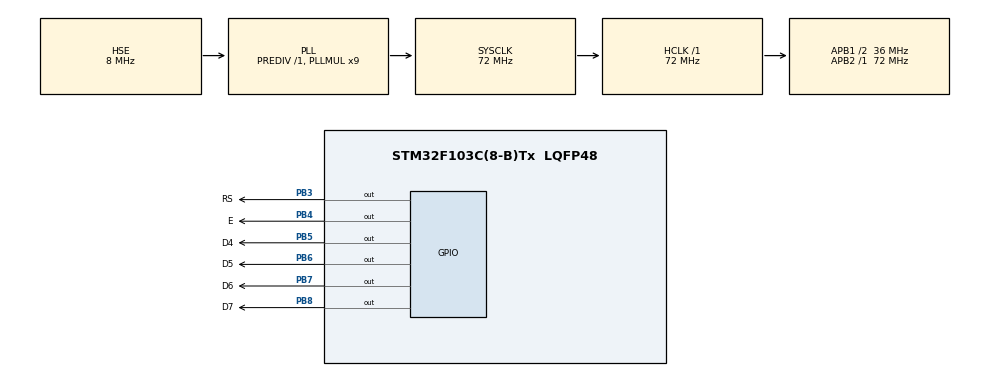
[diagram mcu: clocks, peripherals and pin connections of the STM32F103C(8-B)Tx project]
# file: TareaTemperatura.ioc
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ADC1.Channel-0\#ChannelRegularConversion=ADC_CHANNEL_TEMPSENSOR
ADC1.ContinuousConvMode=ENABLE
ADC1.NbrOfConversionFlag=1
ADC1.Rank-0\#ChannelRegularConversion=1
ADC1.SamplingTime-0\#ChannelRegularConversion=ADC_SAMPLETIME_55CYCLES_5
ADC1.master=1
Mcu.Family=STM32F1
Mcu.Name=STM32F103C(8-B)Tx
Mcu.Package=LQFP48
NVIC.PriorityGroup=NVIC_PRIORITYGROUP_4
PA13.Mode=Serial_Wire
PA13.Signal=SYS_JTMS-SWDIO
PA14.Mode=Serial_Wire
PA14.Signal=SYS_JTCK-SWCLK
PB3.GPIO_Label=RS
PB3.Signal=GPIO_Output
PB4.GPIO_Label=E
PB4.Signal=GPIO_Output
PB5.GPIO_Label=D4
PB5.Signal=GPIO_Output
PB6.GPIO_Label=D5
PB6.Signal=GPIO_Output
PB7.GPIO_Label=D6
PB7.Signal=GPIO_Output
PB8.GPIO_Label=D7
PB8.Signal=GPIO_Output
PD0-OSC_IN.Mode=HSE-External-Oscillator
PD0-OSC_IN.Signal=RCC_OSC_IN
PD1-OSC_OUT.Mode=HSE-External-Oscillator
PD1-OSC_OUT.Signal=RCC_OSC_OUT
ProjectManager.HeapSize=0x200
ProjectManager.StackSize=0x400
ProjectManager.TargetToolchain=STM32CubeIDE
RCC.ADCPresc=RCC_ADCPCLK2_DIV6
RCC.AHBFreq_Value=72000000
RCC.APB1CLKDivider=RCC_HCLK_DIV2
RCC.APB1Freq_Value=36000000
RCC.APB1TimFreq_Value=72000000
RCC.APB2Freq_Value=72000000
RCC.APB2TimFreq_Value=72000000
RCC.HCLKFreq_Value=72000000
RCC.PLLMUL=RCC_PLL_MUL9
RCC.PLLSourceVirtual=RCC_PLLSOURCE_HSE
RCC.SYSCLKFreq_VALUE=72000000
RCC.SYSCLKSource=RCC_SYSCLKSOURCE_PLLCLK
RCC.USBFreq_Value=72000000
VP_ADC1_TempSens_Input.Mode=IN-TempSens
board=custom

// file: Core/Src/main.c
/* USER CODE BEGIN Header */
/**
  ******************************************************************************
  * @file           : main.c
  * @brief          : Main program body
  ******************************************************************************
  * @attention
  *
  * Copyright (c) 2025 STMicroelectronics.
  * All rights reserved.
  *
  * This software is licensed under terms that can be found in the LICENSE file
  * in the root directory of this software component.
  * If no LICENSE file comes with this software, it is provided AS-IS.
  *
  ******************************************************************************
  */
/* USER CODE END Header */
#include "main.h"
#include "adc.h"
#include "gpio.h"

/* USER CODE BEGIN Includes */
#include "lcd.h"
#include <stdio.h>
/* USER CODE END Includes */

/* USER CODE BEGIN PV */
uint16_t readValue;
float tCelsius;
float tFahrenheit;
/* USER CODE END PV */

void SystemClock_Config(void);

int main(void)
{

  /* MCU Configuration--------------------------------------------------------*/

  /* Reset of all peripherals, Initializes the Flash interface and the Systick. */
  HAL_Init();

  /* Configure the system clock */
  SystemClock_Config();

  /* Initialize all configured peripherals */
  MX_GPIO_Init();
  MX_ADC1_Init();
  /* USER CODE BEGIN 2 */
  LCD_Init(LCD_4BITS_INTERFACE);
  HAL_ADC_Start(&hadc1);

  /* USER CODE END 2 */

  /* Infinite loop */
  /* USER CODE BEGIN WHILE */
  while (1)
  {
	  char buffer1[16];
	  char buffer2[16];
	  LCD_Goto_XY(0, 0);
	  LCD_Print("                ");
	  LCD_Goto_XY(0, 1);
	  LCD_Print("                ");
	  LCD_Goto_XY(0, 0);
	  LCD_Print("T:");
	  HAL_ADC_PollForConversion(&hadc1,1000);
	  readValue = HAL_ADC_GetValue(&hadc1);
	  tCelsius = 357.558 - 0.187364 * readValue;
	  tFahrenheit = 675.6 - 0.337255 * readValue;
	  sprintf(buffer1, "%.1f", tCelsius);
	  LCD_Print(" ");
	  LCD_Print(buffer1);
	  LCD_Print(" C");
	  LCD_Goto_XY(3, 1);
	  sprintf(buffer2, "%.1f", tFahrenheit);
	  LCD_Print(buffer2);
	  LCD_Print(" F");
	  HAL_Delay(10);
    /* USER CODE END WHILE */

  }
}

void SystemClock_Config(void)
{
  RCC_OscInitTypeDef RCC_OscInitStruct = {0};
  RCC_ClkInitTypeDef RCC_ClkInitStruct = {0};
  RCC_PeriphCLKInitTypeDef PeriphClkInit = {0};

  /** Initializes the RCC Oscillators according to the specified parameters
  * in the RCC_OscInitTypeDef structure.
  */
  RCC_OscInitStruct.OscillatorType = RCC_OSCILLATORTYPE_HSE;
  RCC_OscInitStruct.HSEState = RCC_HSE_ON;
  RCC_OscInitStruct.HSEPredivValue = RCC_HSE_PREDIV_DIV1;
  RCC_OscInitStruct.HSIState = RCC_HSI_ON;
  RCC_OscInitStruct.PLL.PLLState = RCC_PLL_ON;
  RCC_OscInitStruct.PLL.PLLSource = RCC_PLLSOURCE_HSE;
  RCC_OscInitStruct.PLL.PLLMUL = RCC_PLL_MUL9;
  if (HAL_RCC_OscConfig(&RCC_OscInitStruct) != HAL_OK)
  {
    Error_Handler();
  }

  /** Initializes the CPU, AHB and APB buses clocks
  */
  RCC_ClkInitStruct.ClockType = RCC_CLOCKTYPE_HCLK|RCC_CLOCKTYPE_SYSCLK
                              |RCC_CLOCKTYPE_PCLK1|RCC_CLOCKTYPE_PCLK2;
  RCC_ClkInitStruct.SYSCLKSource = RCC_SYSCLKSOURCE_PLLCLK;
  RCC_ClkInitStruct.AHBCLKDivider = RCC_SYSCLK_DIV1;
  RCC_ClkInitStruct.APB1CLKDivider = RCC_HCLK_DIV2;
  RCC_ClkInitStruct.APB2CLKDivider = RCC_HCLK_DIV1;

  if (HAL_RCC_ClockConfig(&RCC_ClkInitStruct, FLASH_LATENCY_2) != HAL_OK)
  {
    Error_Handler();
  }
  PeriphClkInit.PeriphClockSelection = RCC_PERIPHCLK_ADC;
  PeriphClkInit.AdcClockSelection = RCC_ADCPCLK2_DIV6;
  if (HAL_RCCEx_PeriphCLKConfig(&PeriphClkInit) != HAL_OK)
  {
    Error_Handler();
  }
}

void Error_Handler(void)
{
  __disable_irq();
  while (1)
  {
  }
}
